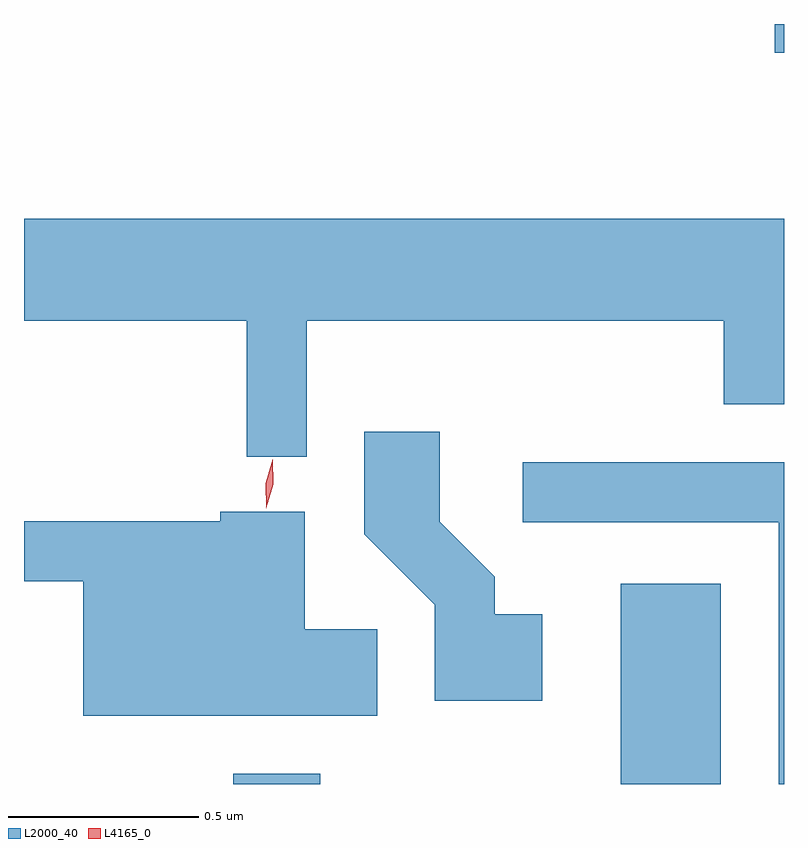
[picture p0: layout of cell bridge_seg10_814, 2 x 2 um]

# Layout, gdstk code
import gdstk
lib = gdstk.Library(unit=1e-6, precision=1e-09)
def R(c, l, rs):  # rectangles x0, y0, x1, y1
    for r in rs: c.add(gdstk.rectangle(r[:2], r[2:], *l))
def P(c, l, *ps):  # polygons
    for p in ps: c.add(gdstk.Polygon(p, *l))
L2000_40 = (2000, 40)
L4165_0 = (4165, 0)

bridge_seg10_814 = lib.new_cell('bridge_seg10_814')
R(bridge_seg10_814, L2000_40, [(539.071,2145.997,539.299,2146.024), (540.091,2145.997,540.354,2146.524), (540.496,2147.921,540.52,2147.997)])
P(bridge_seg10_814, L2000_40, [(539.264,2147.216),(540.361,2147.216),(540.361,2146.996),(540.52,2146.996),(540.52,2147.484),(538.52,2147.484),(538.52,2147.216),(539.106,2147.216),(539.106,2146.858),(539.264,2146.858)],
  [(539.884,2146.444),(539.759,2146.444),(539.759,2146.542),(539.614,2146.687),(539.614,2146.924),(539.416,2146.924),(539.416,2146.654),(539.601,2146.469),(539.601,2146.216),(539.884,2146.216)],
  [(540.52,2146.844),(539.833,2146.844),(539.833,2146.686),(540.506,2146.686),(540.506,2145.997),(540.52,2145.997)],
  [(539.449,2146.404),(539.259,2146.404),(539.259,2146.714),(539.036,2146.714),(539.036,2146.689),(538.52,2146.689),(538.52,2146.531),(538.676,2146.531),(538.676,2146.176),(539.449,2146.176)])
P(bridge_seg10_814, L4165_0, [(539.158,2146.723),(539.158,2146.724),(539.156,2146.789),(539.174,2146.851),(539.174,2146.852),(539.175,2146.851),(539.176,2146.786),(539.158,2146.724)])

lib.write_gds('bridge_seg10_814.gds')
